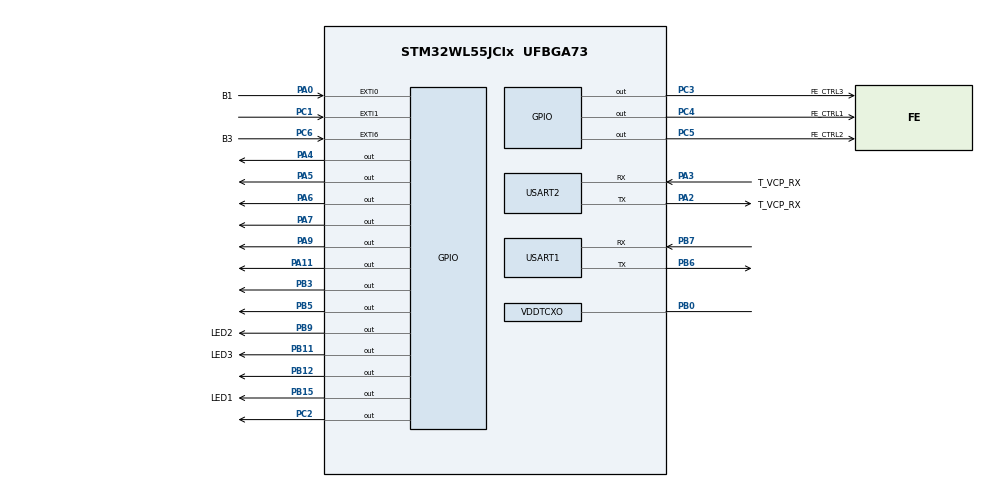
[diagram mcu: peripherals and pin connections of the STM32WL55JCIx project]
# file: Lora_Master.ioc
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AES.Algorithm=CRYP_AES_ECB
AES.DataType=CRYP_DATATYPE_32B
AES.DataWidthUnit=CRYP_DATAWIDTHUNIT_BYTE
AES.Header=__NULL
AES.HeaderWidthUnit=CRYP_HEADERWIDTHUNIT_BYTE
AES.KeyIVConfigSkip=CRYP_KEYIVCONFIG_ALWAYS
AES.KeySize=CRYP_KEYSIZE_256B
AES.pKey=603DEB10 15CA71BE 2B73AEF0 857D7781 1F352C07 3B6108D7 2D9810A3 0914DFF4
Dma.Request0=USART2_RX
Dma.Request1=USART1_RX
Dma.USART1_RX.1.Channel_PRIV_NPRIV=DMA_CHANNEL_NPRIV_DISABLE
Dma.USART1_RX.1.Direction=DMA_PERIPH_TO_MEMORY
Dma.USART1_RX.1.EventEnable=DISABLE
Dma.USART1_RX.1.Instance=DMA1_Channel1
Dma.USART1_RX.1.MemDataAlignment=DMA_MDATAALIGN_BYTE
Dma.USART1_RX.1.MemInc=DMA_MINC_ENABLE
Dma.USART1_RX.1.Mode=DMA_NORMAL
Dma.USART1_RX.1.PeriphDataAlignment=DMA_PDATAALIGN_BYTE
Dma.USART1_RX.1.PeriphInc=DMA_PINC_DISABLE
Dma.USART1_RX.1.Polarity=HAL_DMAMUX_REQ_GEN_RISING
Dma.USART1_RX.1.Priority=DMA_PRIORITY_LOW
Dma.USART1_RX.1.RequestNumber=1
Dma.USART1_RX.1.SignalID=NONE
Dma.USART1_RX.1.SyncEnable=DISABLE
Dma.USART1_RX.1.SyncPolarity=HAL_DMAMUX_SYNC_NO_EVENT
Dma.USART1_RX.1.SyncRequestNumber=1
Dma.USART1_RX.1.SyncSignalID=NONE
Dma.USART2_RX.0.Channel_PRIV_NPRIV=DMA_CHANNEL_NPRIV_DISABLE
Dma.USART2_RX.0.Direction=DMA_PERIPH_TO_MEMORY
Dma.USART2_RX.0.EventEnable=DISABLE
Dma.USART2_RX.0.Instance=DMA1_Channel2
Dma.USART2_RX.0.MemDataAlignment=DMA_MDATAALIGN_BYTE
Dma.USART2_RX.0.MemInc=DMA_MINC_ENABLE
Dma.USART2_RX.0.Mode=DMA_NORMAL
Dma.USART2_RX.0.PeriphDataAlignment=DMA_PDATAALIGN_BYTE
Dma.USART2_RX.0.PeriphInc=DMA_PINC_DISABLE
Dma.USART2_RX.0.Polarity=HAL_DMAMUX_REQ_GEN_RISING
Dma.USART2_RX.0.Priority=DMA_PRIORITY_LOW
Dma.USART2_RX.0.RequestNumber=1
Dma.USART2_RX.0.SignalID=NONE
Dma.USART2_RX.0.SyncEnable=DISABLE
Dma.USART2_RX.0.SyncPolarity=HAL_DMAMUX_SYNC_NO_EVENT
Dma.USART2_RX.0.SyncRequestNumber=1
Dma.USART2_RX.0.SyncSignalID=NONE
Mcu.Family=STM32WL
Mcu.Name=STM32WL55JCIx
Mcu.Package=UFBGA73
NVIC.DMA1_Channel1_IRQn=true\:0\:0\:false\:false\:true\:false\:true\:true
NVIC.DMA1_Channel2_IRQn=true\:0\:0\:false\:false\:true\:false\:true\:true
NVIC.EXTI0_IRQn=true\:0\:0\:false\:false\:true\:true\:true\:true
NVIC.EXTI1_IRQn=true\:0\:0\:false\:false\:true\:true\:true\:true
NVIC.EXTI9_5_IRQn=true\:0\:0\:false\:false\:true\:true\:true\:true
NVIC.PriorityGroup=NVIC_PRIORITYGROUP_4
NVIC.SUBGHZ_Radio_IRQn=true\:0\:0\:false\:false\:true\:true\:true\:true
NVIC.TIM17_IRQn=true\:15\:0\:false\:false\:true\:false\:true\:true
NVIC.TimeBase=TIM17_IRQn
NVIC.TimeBaseIP=TIM17
NVIC.USART1_IRQn=true\:0\:0\:false\:false\:true\:true\:true\:true
NVIC.USART2_IRQn=true\:0\:0\:false\:false\:true\:true\:true\:true
OSC_IN.Mode=HSE-TCXO
OSC_IN.Signal=RCC_OSC_IN
PA0.GPIO_Label=B1
PA0.GPIO_ModeDefaultEXTI=GPIO_MODE_IT_FALLING
PA0.GPIO_PuPd=GPIO_PULLUP
PA0.Signal=GPXTI0
PA11.Signal=GPIO_Output
PA13.Mode=Serial_Wire
PA13.Signal=DEBUG_JTMS-SWDIO
PA14.Mode=Serial_Wire
PA14.Signal=DEBUG_JTCK-SWCLK
PA2.GPIO_Label=T_VCP_RX
PA2.Mode=Asynchronous
PA2.Signal=USART2_TX
PA3.GPIO_Label=T_VCP_RX
PA3.Mode=Asynchronous
PA3.Signal=USART2_RX
PA4.Signal=GPIO_Output
PA5.Signal=GPIO_Output
PA6.Signal=GPIO_Output
PA7.Signal=GPIO_Output
PA9.Signal=GPIO_Output
PB0-VDD_TCXO.Mode=HSE-TCXO
PB0-VDD_TCXO.Signal=VDDTCXO
PB11.GPIO_Label=LED3
PB11.GPIO_Speed=GPIO_SPEED_FREQ_HIGH
PB11.Signal=GPIO_Output
PB12.GPIO_Speed=GPIO_SPEED_FREQ_HIGH
PB12.Signal=GPIO_Output
PB15.GPIO_Label=LED1
PB15.GPIO_Speed=GPIO_SPEED_FREQ_HIGH
PB15.Signal=GPIO_Output
PB3.GPIO_Speed=GPIO_SPEED_FREQ_HIGH
PB3.PinState=GPIO_PIN_RESET
PB3.Signal=GPIO_Output
PB5.GPIO_Speed=GPIO_SPEED_FREQ_HIGH
PB5.PinState=GPIO_PIN_RESET
PB5.Signal=GPIO_Output
PB6.Mode=Asynchronous
PB6.Signal=USART1_TX
PB7.Mode=Asynchronous
PB7.Signal=USART1_RX
PB9.GPIO_FM9=__NULL
PB9.GPIO_Label=LED2
PB9.GPIO_Speed=GPIO_SPEED_FREQ_HIGH
PB9.Signal=GPIO_Output
PC1.GPIO_ModeDefaultEXTI=GPIO_MODE_IT_FALLING
PC1.GPIO_PuPd=GPIO_PULLUP
PC1.Signal=GPXTI1
PC14-OSC32_IN.Mode=LSE-External-Oscillator
PC14-OSC32_IN.Signal=RCC_OSC32_IN
PC15-OSC32_OUT.Mode=LSE-External-Oscillator
PC15-OSC32_OUT.Signal=RCC_OSC32_OUT
PC2.Signal=GPIO_Output
PC3.GPIO_Label=FE_CTRL3
PC3.GPIO_Speed=GPIO_SPEED_FREQ_VERY_HIGH
PC3.Signal=GPIO_Output
PC4.GPIO_Label=FE_CTRL1
PC4.GPIO_Speed=GPIO_SPEED_FREQ_VERY_HIGH
PC4.Signal=GPIO_Output
PC5.GPIO_Label=FE_CTRL2
PC5.GPIO_Speed=GPIO_SPEED_FREQ_VERY_HIGH
PC5.Signal=GPIO_Output
PC6.GPIO_Label=B3
PC6.GPIO_ModeDefaultEXTI=GPIO_MODE_IT_FALLING
PC6.GPIO_PuPd=GPIO_PULLUP
PC6.Signal=GPXTI6
ProjectManager.HeapSize=0x200
ProjectManager.StackSize=0x400
ProjectManager.TargetToolchain=STM32CubeIDE
RCC.AHBFreq_Value=48000000
RCC.APB1Freq_Value=48000000
RCC.APB1TimFreq_Value=48000000
RCC.APB2Freq_Value=48000000
RCC.APB2TimFreq_Value=48000000
RCC.APB3Freq_Value=48000000
RCC.CortexFreq_Value=48000000
RCC.HCLKFreq_Value=48000000
RCC.HSE_VALUE=32000000
RCC.HSI_VALUE=16000000
RCC.LSE_VALUE=32768
RCC.MSIClockRange=RCC_MSIRANGE_11
RCC.SYSCLKFreq_VALUE=48000000
RCC.VCOOutputFreq_Value=384000000
SUBGHZ.BaudratePrescaler=SUBGHZSPI_BAUDRATEPRESCALER_4
USART1.VirtualMode-Asynchronous=VM_ASYNC
USART2.VirtualMode-Asynchronous=VM_ASYNC
VP_AES_VS_AES.Mode=AES_Activate
VP_SUBGHZ_VS_SUBGHZ.Mode=SUBGHZ_Activate
VP_SYS_VS_tim17.Mode=TIM17
board=NUCLEO-WL55JC2

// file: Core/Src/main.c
/* USER CODE BEGIN Header */
/**
  ******************************************************************************
  * @file           : main.c
  * @brief          : Main program body
  ******************************************************************************
  * @attention
  *
  * <h2><center>&copy; Copyright (c) 2021 STMicroelectronics.
  * All rights reserved.</center></h2>
  *
  * This software component is licensed by ST under BSD 3-Clause license,
  * the "License"; You may not use this file except in compliance with the
  * License. You may obtain a copy of the License at:
  *                        opensource.org/licenses/BSD-3-Clause
  *
  ******************************************************************************
  */
/* USER CODE END Header */
#include "main.h"
#include "aes.h"
#include "dma.h"
#include "subghz.h"
#include "usart.h"
#include "gpio.h"

/* USER CODE BEGIN PM */

volatile uint8_t Node_id[NODE_ID_SIZE];
volatile uint8_t count_id =COUNT_ID_START;
volatile uint8_t txBuffer[TXBUFF_SIZE];
volatile uint8_t txBuffer_encypt[TXBUFF_SIZE];
uint8_t rxBuffer[RX_SIZE] = NO_LOAD;
uint8_t rxBuffer_encypt[RX_SIZE] ={0};
uint8_t rxBuffer_decypt[RX_SIZE] ={0};
uint8_t size = 0;
char uartBuff[UART_BUFF_SIZE];
volatile uint32_t RF_FREQUENCY= RF_FREQUENCY0;
volatile uint8_t freChannel = 0;
//bool flag_node[4];

/* USER CODE END PM */

void SystemClock_Config(void);

int main(void)
{
  /* USER CODE BEGIN 1 */

//  char uartBuff[100];

  /* USER CODE END 1 */

  /* MCU Configuration--------------------------------------------------------*/

  /* Reset of all peripherals, Initializes the Flash interface and the Systick. */
  HAL_Init();

  /* Configure the system clock */
  SystemClock_Config();

  /* Initialize all configured peripherals */
  MX_GPIO_Init();
  MX_DMA_Init();
  MX_USART2_UART_Init();
  MX_SUBGHZ_Init();
  MX_AES_Init();
  MX_USART1_UART_Init();
  /* USER CODE BEGIN 2 */
  radioInit();
  fsmInit();
  UartDmaStart();

  /* USER CODE END 2 */

  /* Infinite loop */
  while (1)
  {

    /* USER CODE BEGIN 3 */
	SUBGHZ();

  }
  /* USER CODE END 3 */
}

void SystemClock_Config(void)
{
  RCC_OscInitTypeDef RCC_OscInitStruct = {0};
  RCC_ClkInitTypeDef RCC_ClkInitStruct = {0};

  /** Configure LSE Drive Capability
  */
  HAL_PWR_EnableBkUpAccess();
  __HAL_RCC_LSEDRIVE_CONFIG(RCC_LSEDRIVE_LOW);

  /** Configure the main internal regulator output voltage
  */
  __HAL_PWR_VOLTAGESCALING_CONFIG(PWR_REGULATOR_VOLTAGE_SCALE1);

  /** Initializes the CPU, AHB and APB buses clocks
  */
  RCC_OscInitStruct.OscillatorType = RCC_OSCILLATORTYPE_LSE|RCC_OSCILLATORTYPE_MSI;
  RCC_OscInitStruct.LSEState = RCC_LSE_ON;
  RCC_OscInitStruct.MSIState = RCC_MSI_ON;
  RCC_OscInitStruct.MSICalibrationValue = RCC_MSICALIBRATION_DEFAULT;
  RCC_OscInitStruct.MSIClockRange = RCC_MSIRANGE_11;
  RCC_OscInitStruct.PLL.PLLState = RCC_PLL_NONE;
  if (HAL_RCC_OscConfig(&RCC_OscInitStruct) != HAL_OK)
  {
    Error_Handler();
  }

  /** Configure the SYSCLKSource, HCLK, PCLK1 and PCLK2 clocks dividers
  */
  RCC_ClkInitStruct.ClockType = RCC_CLOCKTYPE_HCLK3|RCC_CLOCKTYPE_HCLK
                              |RCC_CLOCKTYPE_SYSCLK|RCC_CLOCKTYPE_PCLK1
                              |RCC_CLOCKTYPE_PCLK2;
  RCC_ClkInitStruct.SYSCLKSource = RCC_SYSCLKSOURCE_MSI;
  RCC_ClkInitStruct.AHBCLKDivider = RCC_SYSCLK_DIV1;
  RCC_ClkInitStruct.APB1CLKDivider = RCC_HCLK_DIV1;
  RCC_ClkInitStruct.APB2CLKDivider = RCC_HCLK_DIV1;
  RCC_ClkInitStruct.AHBCLK3Divider = RCC_SYSCLK_DIV1;

  if (HAL_RCC_ClockConfig(&RCC_ClkInitStruct, FLASH_LATENCY_2) != HAL_OK)
  {
    Error_Handler();
  }
}

/* USER CODE BEGIN 4 */

/**
  * @brief  Initialize the Sub-GHz radio and dependent hardware.
  * @retval None
  */

/**
  * @brief  Receive data trough SUBGHZSPI peripheral
  * @param  radioIrq  interrupt pending status information
  * @retval None
  */

void HAL_GPIO_EXTI_Callback(uint16_t GPIO_Pin)
{
	if (GPIO_Pin == GPIO_PIN_1) {

				switch (freChannel) {
				case 0:
					RF_FREQUENCY = RF_FREQUENCY0
					;
					HAL_GPIO_WritePin(LEDD4_GPIO_Port, LEDD4_Pin, GPIO_PIN_RESET);
					HAL_GPIO_WritePin(LEDD5_GPIO_Port, LEDD5_Pin, GPIO_PIN_RESET);
					HAL_GPIO_WritePin(LEDD6_GPIO_Port, LEDD6_Pin, GPIO_PIN_RESET);
					HAL_GPIO_WritePin(LEDD7_GPIO_Port, LEDD7_Pin, GPIO_PIN_SET);
					break;
				case 1:
					RF_FREQUENCY = RF_FREQUENCY1
					;
					HAL_GPIO_WritePin(LEDD4_GPIO_Port, LEDD4_Pin, GPIO_PIN_RESET);
					HAL_GPIO_WritePin(LEDD5_GPIO_Port, LEDD5_Pin, GPIO_PIN_RESET);
					HAL_GPIO_WritePin(LEDD6_GPIO_Port, LEDD6_Pin, GPIO_PIN_SET);
					HAL_GPIO_WritePin(LEDD7_GPIO_Port, LEDD7_Pin, GPIO_PIN_RESET);
					break;
				case 2:
					RF_FREQUENCY = RF_FREQUENCY2
					;
					HAL_GPIO_WritePin(LEDD4_GPIO_Port, LEDD4_Pin, GPIO_PIN_RESET);
					HAL_GPIO_WritePin(LEDD5_GPIO_Port, LEDD5_Pin, GPIO_PIN_RESET);
					HAL_GPIO_WritePin(LEDD6_GPIO_Port, LEDD6_Pin, GPIO_PIN_SET);
					HAL_GPIO_WritePin(LEDD7_GPIO_Port, LEDD7_Pin, GPIO_PIN_SET);
					break;
				case 3:
					RF_FREQUENCY = RF_FREQUENCY3
					;
					HAL_GPIO_WritePin(LEDD4_GPIO_Port, LEDD4_Pin, GPIO_PIN_RESET);
					HAL_GPIO_WritePin(LEDD5_GPIO_Port, LEDD5_Pin, GPIO_PIN_SET);
					HAL_GPIO_WritePin(LEDD6_GPIO_Port, LEDD6_Pin, GPIO_PIN_RESET);
					HAL_GPIO_WritePin(LEDD7_GPIO_Port, LEDD7_Pin, GPIO_PIN_RESET);
					break;
				case 4:
					RF_FREQUENCY = RF_FREQUENCY4
					;
					HAL_GPIO_WritePin(LEDD4_GPIO_Port, LEDD4_Pin, GPIO_PIN_RESET);
					HAL_GPIO_WritePin(LEDD5_GPIO_Port, LEDD5_Pin, GPIO_PIN_SET);
					HAL_GPIO_WritePin(LEDD6_GPIO_Port, LEDD6_Pin, GPIO_PIN_RESET);
					HAL_GPIO_WritePin(LEDD7_GPIO_Port, LEDD7_Pin, GPIO_PIN_SET);
					break;
				case 5:
					RF_FREQUENCY = RF_FREQUENCY5
					;
					HAL_GPIO_WritePin(LEDD4_GPIO_Port, LEDD4_Pin, GPIO_PIN_RESET);
					HAL_GPIO_WritePin(LEDD5_GPIO_Port, LEDD5_Pin, GPIO_PIN_SET);
					HAL_GPIO_WritePin(LEDD6_GPIO_Port, LEDD6_Pin, GPIO_PIN_SET);
					HAL_GPIO_WritePin(LEDD7_GPIO_Port, LEDD7_Pin, GPIO_PIN_RESET);
					break;
				case 6:
					RF_FREQUENCY = RF_FREQUENCY6
					;
					HAL_GPIO_WritePin(LEDD4_GPIO_Port, LEDD4_Pin, GPIO_PIN_RESET);
					HAL_GPIO_WritePin(LEDD5_GPIO_Port, LEDD5_Pin, GPIO_PIN_SET);
					HAL_GPIO_WritePin(LEDD6_GPIO_Port, LEDD6_Pin, GPIO_PIN_SET);
					HAL_GPIO_WritePin(LEDD7_GPIO_Port, LEDD7_Pin, GPIO_PIN_SET);
					break;
				case 7:
					RF_FREQUENCY = RF_FREQUENCY7
					;
					HAL_GPIO_WritePin(LEDD4_GPIO_Port, LEDD4_Pin, GPIO_PIN_SET);
					HAL_GPIO_WritePin(LEDD5_GPIO_Port, LEDD5_Pin, GPIO_PIN_RESET);
					HAL_GPIO_WritePin(LEDD6_GPIO_Port, LEDD6_Pin, GPIO_PIN_RESET);
					HAL_GPIO_WritePin(LEDD7_GPIO_Port, LEDD7_Pin, GPIO_PIN_RESET);
					break;

				default:
					RF_FREQUENCY = RF_FREQUENCY0
					;
					HAL_GPIO_WritePin(LEDD4_GPIO_Port, LEDD4_Pin, GPIO_PIN_RESET);
					HAL_GPIO_WritePin(LEDD5_GPIO_Port, LEDD5_Pin, GPIO_PIN_RESET);
					HAL_GPIO_WritePin(LEDD6_GPIO_Port, LEDD6_Pin, GPIO_PIN_RESET);
					HAL_GPIO_WritePin(LEDD7_GPIO_Port, LEDD7_Pin, GPIO_PIN_SET);

					//break
				}
				freChannel++;
				if (freChannel == FRE_CHANNEL_END)
					freChannel = FRE_CHANNEL_START;
			}
}

/* USER CODE END 4 */

void HAL_TIM_PeriodElapsedCallback(TIM_HandleTypeDef *htim)
{
  if (htim->Instance == TIM17) {
    HAL_IncTick();
  }
}

void Error_Handler(void)
{
  __disable_irq();
  while (1)
  {
  }
}
